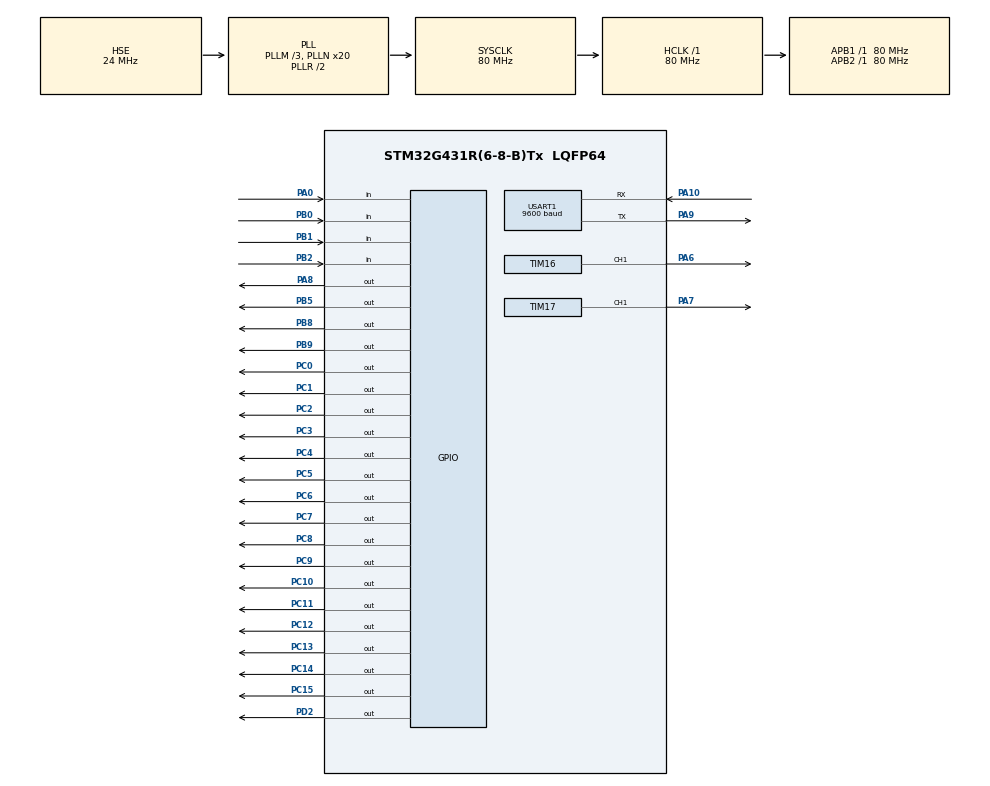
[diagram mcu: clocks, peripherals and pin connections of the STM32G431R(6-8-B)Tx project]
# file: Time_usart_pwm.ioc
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Mcu.Family=STM32G4
Mcu.Name=STM32G431R(6-8-B)Tx
Mcu.Package=LQFP64
NVIC.PriorityGroup=NVIC_PRIORITYGROUP_4
NVIC.TIM2_IRQn=true\:0\:0\:false\:false\:true\:true\:true\:true
NVIC.USART1_IRQn=true\:0\:0\:false\:false\:true\:true\:true\:true
PA0.GPIO_PuPd=GPIO_PULLUP
PA0.Signal=GPIO_Input
PA10.Mode=Asynchronous
PA10.Signal=USART1_RX
PA6.Signal=S_TIM16_CH1
PA7.Signal=S_TIM17_CH1
PA8.Signal=GPIO_Output
PA9.Mode=Asynchronous
PA9.Signal=USART1_TX
PB0.GPIO_PuPd=GPIO_PULLUP
PB0.Signal=GPIO_Input
PB1.GPIO_PuPd=GPIO_PULLUP
PB1.Signal=GPIO_Input
PB2.GPIO_PuPd=GPIO_PULLUP
PB2.Signal=GPIO_Input
PB5.Signal=GPIO_Output
PB8-BOOT0.Signal=GPIO_Output
PB9.Signal=GPIO_Output
PC0.Signal=GPIO_Output
PC1.Signal=GPIO_Output
PC10.PinState=GPIO_PIN_SET
PC10.Signal=GPIO_Output
PC11.PinState=GPIO_PIN_SET
PC11.Signal=GPIO_Output
PC12.PinState=GPIO_PIN_SET
PC12.Signal=GPIO_Output
PC13.PinState=GPIO_PIN_SET
PC13.Signal=GPIO_Output
PC14-OSC32_IN.PinState=GPIO_PIN_SET
PC14-OSC32_IN.Signal=GPIO_Output
PC15-OSC32_OUT.PinState=GPIO_PIN_SET
PC15-OSC32_OUT.Signal=GPIO_Output
PC2.Signal=GPIO_Output
PC3.Signal=GPIO_Output
PC4.Signal=GPIO_Output
PC5.Signal=GPIO_Output
PC6.Signal=GPIO_Output
PC7.Signal=GPIO_Output
PC8.PinState=GPIO_PIN_SET
PC8.Signal=GPIO_Output
PC9.PinState=GPIO_PIN_SET
PC9.Signal=GPIO_Output
PD2.Signal=GPIO_Output
PF0-OSC_IN.Mode=HSE-External-Oscillator
PF0-OSC_IN.Signal=RCC_OSC_IN
PF1-OSC_OUT.Mode=HSE-External-Oscillator
PF1-OSC_OUT.Signal=RCC_OSC_OUT
ProjectManager.HeapSize=0x200
ProjectManager.StackSize=0x400
ProjectManager.TargetToolchain=MDK-ARM V5.32
RCC.ADC12Freq_Value=80000000
RCC.AHBFreq_Value=80000000
RCC.APB1Freq_Value=80000000
RCC.APB1TimFreq_Value=80000000
RCC.APB2Freq_Value=80000000
RCC.APB2TimFreq_Value=80000000
RCC.CortexFreq_Value=80000000
RCC.EXTERNAL_CLOCK_VALUE=12288000
RCC.HCLKFreq_Value=80000000
RCC.HSE_VALUE=24000000
RCC.HSI48_VALUE=48000000
RCC.HSI_VALUE=16000000
RCC.LSE_VALUE=32768
RCC.PLLM=RCC_PLLM_DIV3
RCC.PLLN=20
RCC.PLLSourceVirtual=RCC_PLLSOURCE_HSE
RCC.SYSCLKFreq_VALUE=80000000
RCC.SYSCLKSource=RCC_SYSCLKSOURCE_PLLCLK
RCC.USBFreq_Value=80000000
RCC.VCOOutputFreq_Value=160000000
SH.S_TIM16_CH1.0=TIM16_CH1,PWM Generation1 CH1
SH.S_TIM17_CH1.0=TIM17_CH1,PWM Generation1 CH1
TIM16.Channel=TIM_CHANNEL_1
TIM16.PeriodNoDither=100-1
TIM16.Prescaler=8000-1
TIM16.PulseNoDither_1=20
TIM17.Channel=TIM_CHANNEL_1
TIM17.PeriodNoDither=100-1
TIM17.Prescaler=4000-1
TIM17.PulseNoDither_1=20
TIM2.PeriodNoDither=10000-1
TIM2.Prescaler=80-1
USART1.BaudRate=9600
USART1.VirtualMode-Asynchronous=VM_ASYNC
VP_SYS_VS_DBSignals.Mode=DisableDeadBatterySignals
VP_TIM16_VS_ClockSourceINT.Mode=Enable_Timer
VP_TIM17_VS_ClockSourceINT.Mode=Enable_Timer
VP_TIM2_VS_ClockSourceINT.Mode=Internal
board=custom

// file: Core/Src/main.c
/* USER CODE BEGIN Header */
/**
  ******************************************************************************
  * @file           : main.c
  * @brief          : Main program body
  ******************************************************************************
  * @attention
  *
  * Copyright (c) 2024 STMicroelectronics.
  * All rights reserved.
  *
  * This software is licensed under terms that can be found in the LICENSE file
  * in the root directory of this software component.
  * If no LICENSE file comes with this software, it is provided AS-IS.
  *
  ******************************************************************************
  */
/* USER CODE END Header */
#include "main.h"
#include "tim.h"
#include "usart.h"
#include "gpio.h"

/* USER CODE BEGIN Includes */

#include "led.h"
#include "timer.h"
#include "lcd.h"
#include "myusart.h"
#include "stdio.h"
#include "String.h"

/* USER CODE END Includes */

void SystemClock_Config(void);
/* USER CODE BEGIN PFP */
void key_proc(void);
void usart_proc(void);
/* USER CODE END PFP */

/* USER CODE BEGIN 0 */
unsigned char text[30];//在LCD上显示的文字
unsigned char ucled=0x00;//led灯

//定义两个通道的占空比

unsigned char pa6_duty;
unsigned char pa7_duty;

/* USER CODE END 0 */

int main(void)
{

  /* MCU Configuration--------------------------------------------------------*/

  /* Reset of all peripherals, Initializes the Flash interface and the Systick. */
  HAL_Init();

  /* Configure the system clock */
  SystemClock_Config();

  /* Initialize all configured peripherals */
  MX_GPIO_Init();
  MX_TIM2_Init();
  MX_TIM16_Init();
  MX_TIM17_Init();
  MX_USART1_UART_Init();
  /* USER CODE BEGIN 2 */
    led_disp(0x00);
    LCD_Init();
    LCD_Clear(White);
    LCD_SetBackColor(White);
    LCD_SetTextColor(Blue2);
    HAL_UART_Receive_IT(&huart1,&rxdat,1);
    HAL_TIM_Base_Start_IT(&htim2);

   /*
   PA6输出频率100MHZ，占空比可调
   PA7输出频率200MHZ，占空比可调
   */

   HAL_TIM_PWM_Start(&htim16,TIM_CHANNEL_1);//PWM输出打开
   HAL_TIM_PWM_Start(&htim17,TIM_CHANNEL_1);//PWM输出打开

  /* USER CODE END 2 */

  /* Infinite loop */
  while (1)
  {

    /* USER CODE BEGIN 3 */
      key_proc();
      if(rxpointer!=0)
      {
          int temp=rxpointer;
          HAL_Delay(1);
          if(temp==rxpointer)
             usart_proc();

      }
  }
  /* USER CODE END 3 */
}

void SystemClock_Config(void)
{
  RCC_OscInitTypeDef RCC_OscInitStruct = {0};
  RCC_ClkInitTypeDef RCC_ClkInitStruct = {0};

  /** Configure the main internal regulator output voltage
  */
  HAL_PWREx_ControlVoltageScaling(PWR_REGULATOR_VOLTAGE_SCALE1);

  /** Initializes the RCC Oscillators according to the specified parameters
  * in the RCC_OscInitTypeDef structure.
  */
  RCC_OscInitStruct.OscillatorType = RCC_OSCILLATORTYPE_HSE;
  RCC_OscInitStruct.HSEState = RCC_HSE_ON;
  RCC_OscInitStruct.PLL.PLLState = RCC_PLL_ON;
  RCC_OscInitStruct.PLL.PLLSource = RCC_PLLSOURCE_HSE;
  RCC_OscInitStruct.PLL.PLLM = RCC_PLLM_DIV3;
  RCC_OscInitStruct.PLL.PLLN = 20;
  RCC_OscInitStruct.PLL.PLLP = RCC_PLLP_DIV2;
  RCC_OscInitStruct.PLL.PLLQ = RCC_PLLQ_DIV2;
  RCC_OscInitStruct.PLL.PLLR = RCC_PLLR_DIV2;
  if (HAL_RCC_OscConfig(&RCC_OscInitStruct) != HAL_OK)
  {
    Error_Handler();
  }

  /** Initializes the CPU, AHB and APB buses clocks
  */
  RCC_ClkInitStruct.ClockType = RCC_CLOCKTYPE_HCLK|RCC_CLOCKTYPE_SYSCLK
                              |RCC_CLOCKTYPE_PCLK1|RCC_CLOCKTYPE_PCLK2;
  RCC_ClkInitStruct.SYSCLKSource = RCC_SYSCLKSOURCE_PLLCLK;
  RCC_ClkInitStruct.AHBCLKDivider = RCC_SYSCLK_DIV1;
  RCC_ClkInitStruct.APB1CLKDivider = RCC_HCLK_DIV1;
  RCC_ClkInitStruct.APB2CLKDivider = RCC_HCLK_DIV1;

  if (HAL_RCC_ClockConfig(&RCC_ClkInitStruct, FLASH_LATENCY_2) != HAL_OK)
  {
    Error_Handler();
  }
}

/* USER CODE BEGIN 4 */

void key_proc(void)
{
    char str[20];
    if(1==key[0].single_flag)
    {
        //led1亮
        ucled=ucled|(0x01);
        sprintf((char *)text,"%s","key1down");
        LCD_DisplayStringLine(Line4,text);

        sprintf(str,"%s\r\n","key1down");
        key[0].single_flag=0;
        HAL_UART_Transmit(&huart1,(uint8_t *)str,strlen(str),50);
    }

    if(1==key[1].single_flag)//PA6占空比增加10%
    {
        //led1灭
        ucled=ucled&(0xfe);
        sprintf((char *)text,"%s","key2down");
         LCD_DisplayStringLine(Line4,text);

        pa6_duty+=10;
        if(pa6_duty>=100)pa6_duty=10;
        sprintf((char *)text,"PA6:%d",pa6_duty);
        LCD_DisplayStringLine(Line5,text);
        //将占空比应用数输出中，即设置PWM波的占空比
        //第一个参数是哪个定时器，第二个参数是第几个通道，第三次参数是设置的占空比值
        __HAL_TIM_SetCompare(&htim16,TIM_CHANNEL_1,pa6_duty);
         key[1].single_flag=0;
    }

    if(1==key[2].single_flag)
    {
         //led2亮
        ucled=ucled|(0x02);
          sprintf((char *)text,"%s","key3down");
         LCD_DisplayStringLine(Line4,text);
        pa7_duty+=10;
        if(pa7_duty>=100)pa7_duty=10;
        sprintf((char *)text,"PA7:%d",pa7_duty);
        LCD_DisplayStringLine(Line5,text);
        //将占空比应用数输出中，即设置PWM波的占空比
        //第一个参数是哪个定时器，第二个参数是第几个通道，第三次参数是设置的占空比值
        __HAL_TIM_SetCompare(&htim17,TIM_CHANNEL_1,pa7_duty);
         key[2].single_flag=0;
  }
    if(1==key[3].single_flag)
    {
         //led2灭
         ucled=ucled&(0xfd);
         sprintf((char *)text,"%s","key4down");
         LCD_DisplayStringLine(Line4,text);
         key[3].single_flag=0;
    }
    led_disp(ucled);
}

//从电脑的串口助手通过串口发送消息给板子
//并返回到串口助手
void usart_proc(void)
{
    if(rxpointer!=0)//判断是否有接收到字符
    {
        rxdata[rxpointer++]='\r';
        rxdata[rxpointer++]='\n';

        HAL_UART_Transmit(&huart1,(uint8_t *)rxdata,strlen(rxdata),50);//将串口助手输入的字符重新发送到串口助手
        memset(rxdata,0,strlen(rxdata));
        rxpointer=0;
    }
}

/* USER CODE END 4 */

void Error_Handler(void)
{
  __disable_irq();
  while (1)
  {
  }
}
